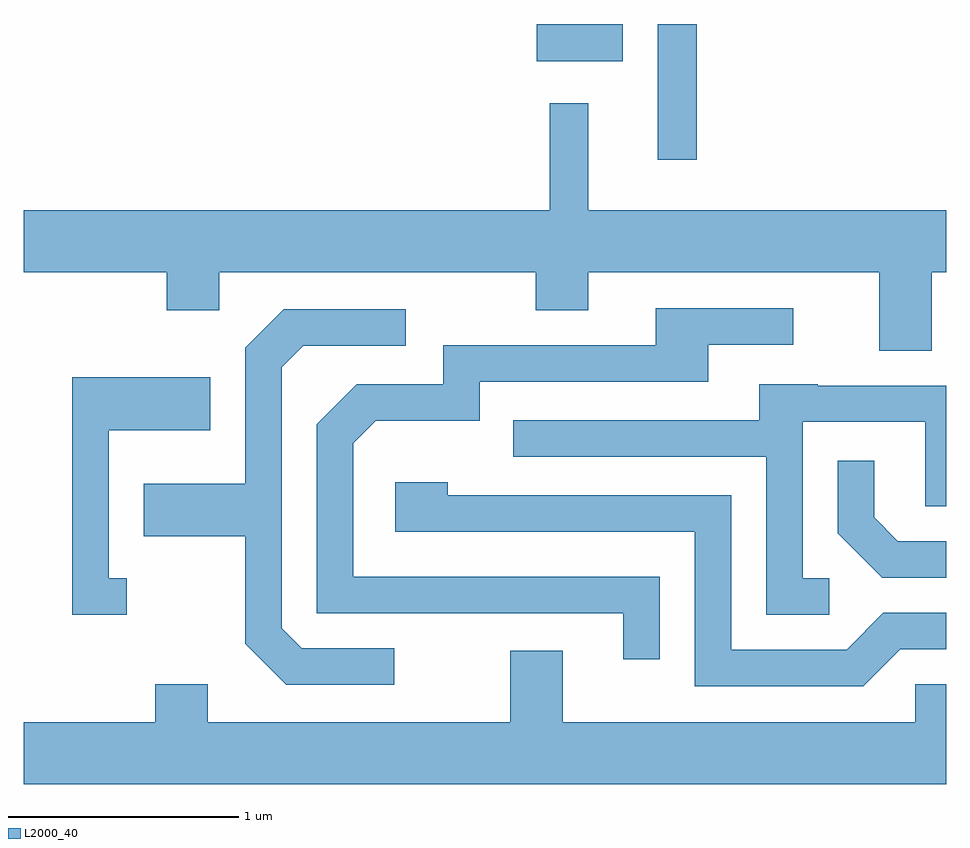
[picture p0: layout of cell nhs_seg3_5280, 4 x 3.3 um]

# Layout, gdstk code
import gdstk
lib = gdstk.Library(unit=1e-6, precision=1e-09)
def R(c, l, rs):  # rectangles x0, y0, x1, y1
    for r in rs: c.add(gdstk.rectangle(r[:2], r[2:], *l))
def P(c, l, *ps):  # polygons
    for p in ps: c.add(gdstk.Polygon(p, *l))
L2000_40 = (2000, 40)

nhs_seg3_5280 = lib.new_cell('nhs_seg3_5280')
R(nhs_seg3_5280, L2000_40, [(342.361,1215.303,342.529,1215.892), (341.836,1215.731,342.209,1215.892)])
P(nhs_seg3_5280, L2000_40, [(343.549,1214.816),(343.611,1214.816),(343.611,1215.084),(342.059,1215.084),(342.059,1215.548),(341.891,1215.548),(341.891,1215.084),(339.611,1215.084),(339.611,1214.816),(340.231,1214.816),(340.231,1214.651),(340.459,1214.651),(340.459,1214.816),(341.831,1214.816),(341.831,1214.651),(342.059,1214.651),(342.059,1214.816),(343.321,1214.816),(343.321,1214.476),(343.549,1214.476)],
  [(342.369,1213.494),(341.039,1213.494),(341.039,1214.074),(341.137,1214.171),(341.589,1214.171),(341.589,1214.341),(342.579,1214.341),(342.579,1214.501),(342.948,1214.501),(342.948,1214.659),(342.351,1214.659),(342.351,1214.499),(341.431,1214.499),(341.431,1214.329),(341.054,1214.329),(340.881,1214.157),(340.881,1213.336),(342.211,1213.336),(342.211,1213.138),(342.369,1213.138)],
  [(341.218,1213.184),(340.817,1213.184),(340.729,1213.272),(340.729,1214.404),(340.822,1214.496),(341.268,1214.496),(341.268,1214.654),(340.739,1214.654),(340.571,1214.487),(340.571,1213.899),(340.131,1213.899),(340.131,1213.671),(340.571,1213.671),(340.571,1213.204),(340.749,1213.026),(341.218,1213.026)],
  [(340.058,1213.489),(339.979,1213.489),(339.979,1214.131),(340.419,1214.131),(340.419,1214.359),(339.821,1214.359),(339.821,1213.331),(340.058,1213.331)],
  [(343.103,1213.489),(342.989,1213.489),(342.989,1214.166),(343.521,1214.166),(343.521,1213.801),(343.611,1213.801),(343.611,1214.324),(343.055,1214.324),(343.055,1214.329),(342.801,1214.329),(342.801,1214.174),(341.733,1214.174),(341.733,1214.016),(342.831,1214.016),(342.831,1213.331),(343.103,1213.331)],
  [(343.611,1213.649),(343.402,1213.649),(343.299,1213.752),(343.299,1213.998),(343.141,1213.998),(343.141,1213.684),(343.334,1213.491),(343.611,1213.491)],
  [(343.412,1213.181),(343.611,1213.181),(343.611,1213.339),(343.339,1213.339),(343.179,1213.179),(342.679,1213.179),(342.679,1213.849),(341.449,1213.849),(341.449,1213.904),(341.221,1213.904),(341.221,1213.691),(342.521,1213.691),(342.521,1213.021),(343.252,1213.021)],
  [(343.611,1213.029),(343.476,1213.029),(343.476,1212.864),(341.949,1212.864),(341.949,1213.174),(341.721,1213.174),(341.721,1212.864),(340.409,1212.864),(340.409,1213.029),(340.181,1213.029),(340.181,1212.864),(339.611,1212.864),(339.611,1212.596),(343.611,1212.596)])

lib.write_gds('nhs_seg3_5280.gds')
